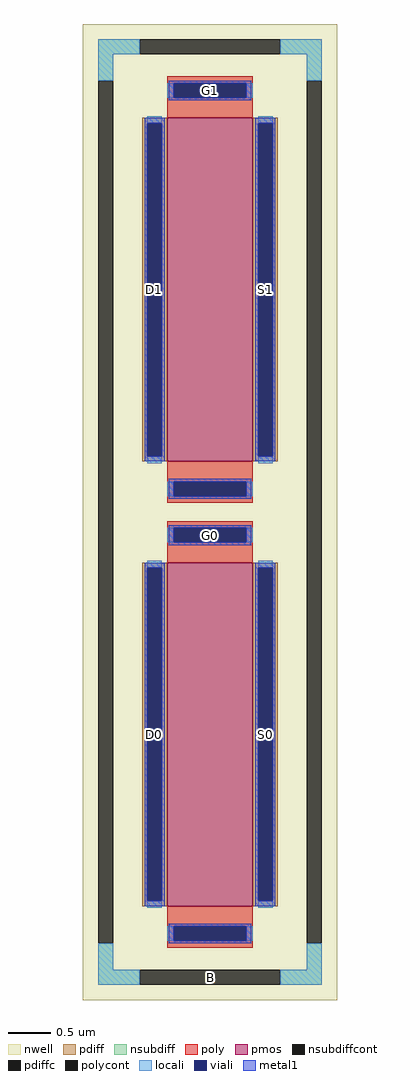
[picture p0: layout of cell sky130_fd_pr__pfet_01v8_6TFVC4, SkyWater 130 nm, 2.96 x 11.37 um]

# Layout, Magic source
magic
tech sky130A
magscale 1 2
<< nwell >>
rect -296 -1137 296 1137
<< pmos >>
rect -100 118 100 918
rect -100 -918 100 -118
<< pdiff >>
rect -158 906 -100 918
rect -158 130 -146 906
rect -112 130 -100 906
rect -158 118 -100 130
rect 100 906 158 918
rect 100 130 112 906
rect 146 130 158 906
rect 100 118 158 130
rect -158 -130 -100 -118
rect -158 -906 -146 -130
rect -112 -906 -100 -130
rect -158 -918 -100 -906
rect 100 -130 158 -118
rect 100 -906 112 -130
rect 146 -906 158 -130
rect 100 -918 158 -906
<< pdiffc >>
rect -146 130 -112 906
rect 112 130 146 906
rect -146 -906 -112 -130
rect 112 -906 146 -130
<< nsubdiff >>
rect -260 1067 -164 1101
rect 164 1067 260 1101
rect -260 1005 -226 1067
rect 226 1005 260 1067
rect -260 -1067 -226 -1005
rect 226 -1067 260 -1005
rect -260 -1101 -164 -1067
rect 164 -1101 260 -1067
<< nsubdiffcont >>
rect -164 1067 164 1101
rect -260 -1005 -226 1005
rect 226 -1005 260 1005
rect -164 -1101 164 -1067
<< poly >>
rect -100 999 100 1015
rect -100 965 -84 999
rect 84 965 100 999
rect -100 918 100 965
rect -100 71 100 118
rect -100 37 -84 71
rect 84 37 100 71
rect -100 21 100 37
rect -100 -37 100 -21
rect -100 -71 -84 -37
rect 84 -71 100 -37
rect -100 -118 100 -71
rect -100 -965 100 -918
rect -100 -999 -84 -965
rect 84 -999 100 -965
rect -100 -1015 100 -999
<< polycont >>
rect -84 965 84 999
rect -84 37 84 71
rect -84 -71 84 -37
rect -84 -999 84 -965
<< locali >>
rect -260 1067 -164 1101
rect 164 1067 260 1101
rect -260 1005 -226 1067
rect 226 1005 260 1067
rect -100 965 -84 999
rect 84 965 100 999
rect -146 906 -112 922
rect -146 114 -112 130
rect 112 906 146 922
rect 112 114 146 130
rect -100 37 -84 71
rect 84 37 100 71
rect -100 -71 -84 -37
rect 84 -71 100 -37
rect -146 -130 -112 -114
rect -146 -922 -112 -906
rect 112 -130 146 -114
rect 112 -922 146 -906
rect -100 -999 -84 -965
rect 84 -999 100 -965
rect -260 -1067 -226 -1005
rect 226 -1067 260 -1005
rect -260 -1101 -164 -1067
rect 164 -1101 260 -1067
<< viali >>
rect -84 965 84 999
rect -146 130 -112 906
rect 112 130 146 906
rect -84 37 84 71
rect -84 -71 84 -37
rect -146 -906 -112 -130
rect 112 -906 146 -130
rect -84 -999 84 -965
<< metal1 >>
rect -96 999 96 1005
rect -96 965 -84 999
rect 84 965 96 999
rect -96 959 96 965
rect -152 906 -106 918
rect -152 130 -146 906
rect -112 130 -106 906
rect -152 118 -106 130
rect 106 906 152 918
rect 106 130 112 906
rect 146 130 152 906
rect 106 118 152 130
rect -96 71 96 77
rect -96 37 -84 71
rect 84 37 96 71
rect -96 31 96 37
rect -96 -37 96 -31
rect -96 -71 -84 -37
rect 84 -71 96 -37
rect -96 -77 96 -71
rect -152 -130 -106 -118
rect -152 -906 -146 -130
rect -112 -906 -106 -130
rect -152 -918 -106 -906
rect 106 -130 152 -118
rect 106 -906 112 -130
rect 146 -906 152 -130
rect 106 -918 152 -906
rect -96 -965 96 -959
rect -96 -999 -84 -965
rect 84 -999 96 -965
rect -96 -1005 96 -999
<< labels >>
rlabel nsubdiffcont 0 -1084 0 -1084 0 B
port 1 nsew
rlabel pdiffc -129 -518 -129 -518 0 D0
port 2 nsew
rlabel pdiffc 129 -518 129 -518 0 S0
port 3 nsew
rlabel polycont 0 -54 0 -54 0 G0
port 4 nsew
rlabel pdiffc -129 518 -129 518 0 D1
port 5 nsew
rlabel pdiffc 129 518 129 518 0 S1
port 6 nsew
rlabel polycont 0 982 0 982 0 G1
port 7 nsew
<< properties >>
string FIXED_BBOX -243 -1084 243 1084
string gencell sky130_fd_pr__pfet_01v8
string library sky130
string parameters w 4.0 l 1.0 m 2 nf 1 diffcov 100 polycov 100 guard 1 glc 1 grc 1 gtc 1 gbc 1 tbcov 100 rlcov 100 topc 1 botc 1 poverlap 0 doverlap 1 lmin 0.15 wmin 0.42 class mosfet compatible {sky130_fd_pr__pfet_01v8  sky130_fd_pr__pfet_01v8_lvt sky130_fd_pr__pfet_01v8_hvt  sky130_fd_pr__pfet_g5v0d10v5} full_metal 1 conn_gates 0 viasrc 100 viadrn 100 viagate 100 viagb 0 viagr 0 viagl 0 viagt 0 doports 1
<< end >>
